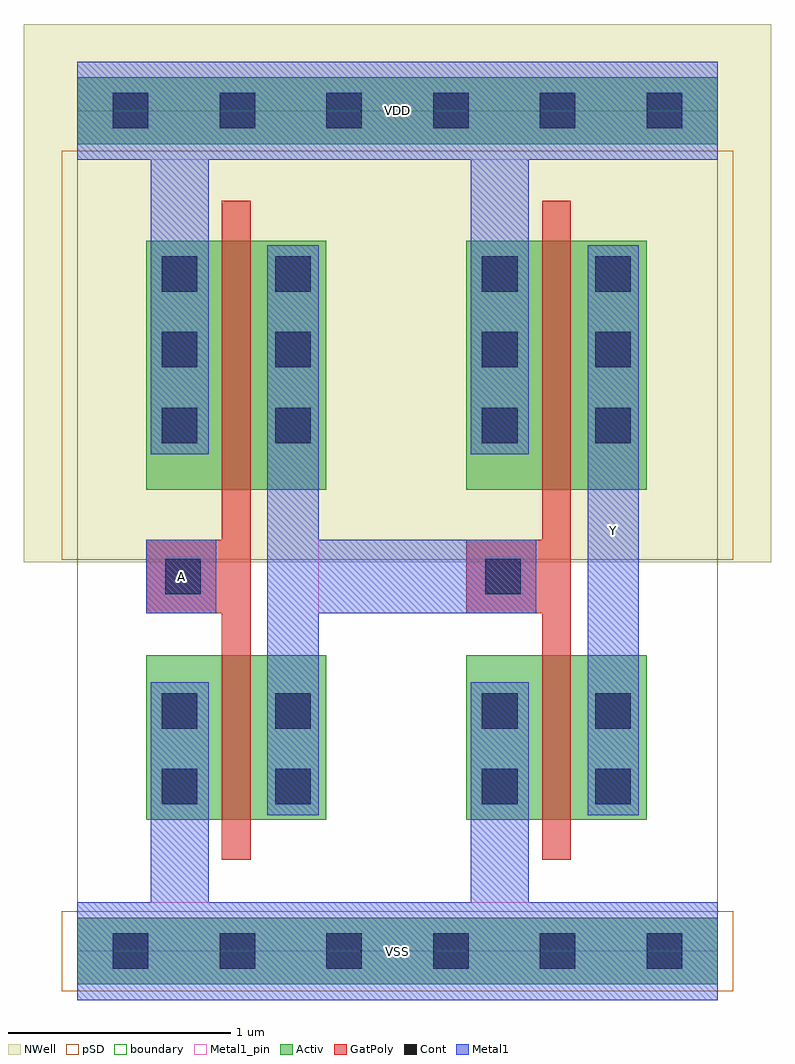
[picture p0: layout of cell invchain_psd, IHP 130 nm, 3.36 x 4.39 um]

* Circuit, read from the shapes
.subckt invchain_psd A VDD VSS Y
XM1 inv_psd_1/A A VSS VSS sg13_lv_nmos w=0.74u l=0.13u
XM2 Y inv_psd_1/A VSS VSS sg13_lv_nmos w=0.74u l=0.13u
XM3 inv_psd_1/A A VDD VDD sg13_lv_pmos w=1.12u l=0.13u
XM4 Y inv_psd_1/A VDD VDD sg13_lv_pmos w=1.12u l=0.13u
.ends

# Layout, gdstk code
import gdstk
lib = gdstk.Library(unit=1e-6, precision=1e-09)
def R(c, l, rs):  # rectangles x0, y0, x1, y1
    for r in rs: c.add(gdstk.rectangle(r[:2], r[2:], *l))
def A(c, l, x, y, w, h, nx, ny, dx, dy):  # array of equal rectangles
    R(c, l, [(x+i*dx, y+j*dy, x+i*dx+w, y+j*dy+h) for i in range(nx) for j in range(ny)])
def P(c, l, *ps):  # polygons
    for p in ps: c.add(gdstk.Polygon(p, *l))
Activ = (1, 0)
GatPoly = (5, 0)
Cont = (6, 0)
Metal1 = (8, 0)
Metal1_pin = (8, 2)
pSD = (14, 0)
NWell = (31, 0)
boundary = (189, 4)

inv_psd = lib.new_cell('inv_psd')
R(inv_psd, Activ, [(0,-0.15,1.44,0.15), (0.31,0.59,1.12,1.33), (0.31,2.075,1.12,3.195), (0,3.63,1.44,3.93)])
P(inv_psd, GatPoly, [(0.65,0.41),(0.65,1.52),(0.31,1.52),(0.31,1.85),(0.65,1.85),(0.65,3.375),(0.78,3.375),(0.78,0.41)])
A(inv_psd, Cont, 0.38, 2.285, 0.16, 0.16, 1, 3, 0, 0.34)
A(inv_psd, Cont, 0.89, 2.285, 0.16, 0.16, 1, 3, 0, 0.34)
R(inv_psd, Cont, [(0.16,-0.08,0.32,0.08), (0.16,-0.08,0.32,0.08), (0.64,-0.08,0.8,0.08), (0.64,-0.08,0.8,0.08), (1.12,-0.08,1.28,0.08), (1.12,-0.08,1.28,0.08), (0.38,0.66,0.54,0.82), (0.89,0.66,1.05,0.82), (0.38,1,0.54,1.16), (0.89,1,1.05,1.16), (0.395,1.605,0.555,1.765), (0.16,3.7,0.32,3.86), (0.16,3.7,0.32,3.86), (0.64,3.7,0.8,3.86), (0.64,3.7,0.8,3.86), (1.12,3.7,1.28,3.86), (1.12,3.7,1.28,3.86)])
R(inv_psd, Metal1, [(0.855,0.61,1.085,3.175), (0.31,1.52,0.625,1.85)])
P(inv_psd, Metal1, [(0.33,2.235),(0.33,3.56),(0,3.56),(0,4),(1.44,4),(1.44,3.56),(0.59,3.56),(0.59,2.235)],
  [(0,-0.22),(0,0.22),(0.33,0.22),(0.33,1.21),(0.59,1.21),(0.59,0.22),(1.44,0.22),(1.44,-0.22)])
R(inv_psd, Metal1_pin, [(0,-0.22,1.44,0.22), (0.855,0.61,1.085,3.175), (0.31,1.52,0.625,1.85), (0,3.56,1.44,4)])
R(inv_psd, NWell, [(-0.24,1.75,1.68,4.17)])
R(inv_psd, boundary, [(0,0,1.44,3.78)])
inv_psd.add(gdstk.Label('Y', (0.98,1.69), layer=8, texttype=25))
inv_psd.add(gdstk.Label('A', (0.48,1.68), layer=8, texttype=25))
inv_psd.add(gdstk.Label('VSS', (0.72,-0.02), layer=8, texttype=25))
inv_psd.add(gdstk.Label('VDD', (0.705,3.78), layer=8, texttype=25))

invchain_psd = lib.new_cell('invchain_psd')
R(invchain_psd, Metal1, [(0,-0.22,2.88,0.22), (2.295,0.61,2.525,3.175), (0.31,1.52,0.625,1.85), (1.085,1.52,1.75,1.85), (0,3.56,2.88,4)])
R(invchain_psd, Metal1_pin, [(0,-0.22,2.88,0.22), (2.295,0.61,2.525,3.175), (0.31,1.52,0.625,1.85), (0,3.56,2.88,4)])
R(invchain_psd, pSD, [(-0.07,-0.18,1.51,0.18), (1.37,-0.18,2.95,0.18), (-0.07,1.76,1.51,3.6), (1.37,1.76,2.95,3.6)])
invchain_psd.add(gdstk.Reference(inv_psd, (0,0)))
invchain_psd.add(gdstk.Reference(inv_psd, (1.44,0)))
invchain_psd.add(gdstk.Label('A', (0.467,1.685), layer=8, texttype=25))
invchain_psd.add(gdstk.Label('Y', (2.41,1.892), layer=8, texttype=25))
invchain_psd.add(gdstk.Label('VDD', (1.44,3.78), layer=8, texttype=25))
invchain_psd.add(gdstk.Label('VSS', (1.44,0), layer=8, texttype=25))

lib.write_gds('invchain_psd.gds')
